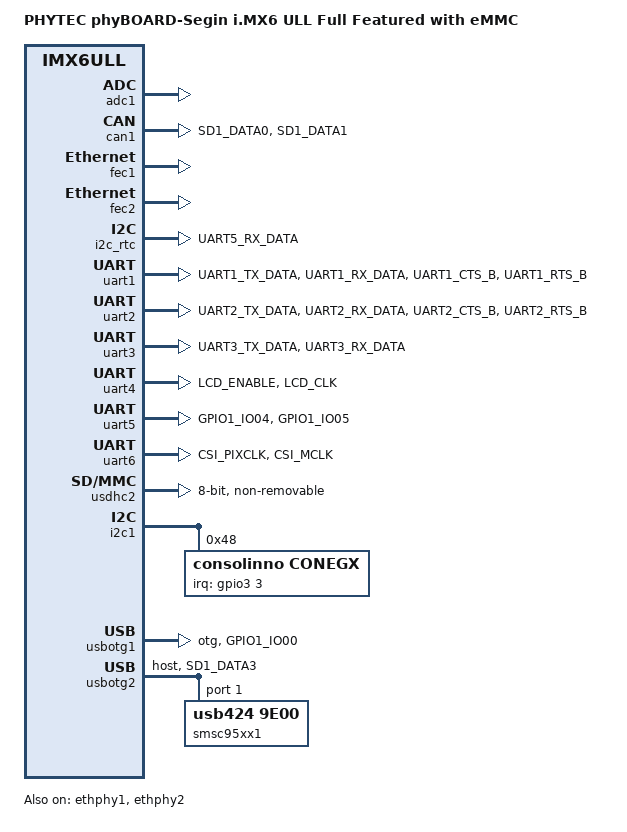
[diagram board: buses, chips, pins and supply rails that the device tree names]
// SPDX-License-Identifier: (GPL-2.0+ OR MIT)
/*
 * Copyright (C) 2019 PHYTEC Messtechnik GmbH
 * Author: Stefan Riedmueller <s.riedmueller@phytec.de>
 * Author: Simon Stuerz <simon.stuerz@nymea.io>
 * Author: Paul Budich <p.budich@consolinno.de>
 * Author: Alexander Pietsch <a.pietsch@consolinno.de>
 * Author: Leonid Verhovskij <l.verhovskij@consolinno.de>
 */

/dts-v1/;
#include "imx6ull.dtsi"
#include "imx6ull-phytec-phycore-som.dtsi"
#include "imx6ull-phytec-segin.dtsi"
#include "imx6ull-phytec-segin-peb-av-02.dtsi"
#include "imx6ull-phytec-segin-peb-eval-01.dtsi"

/ {
	model = "PHYTEC phyBOARD-Segin i.MX6 ULL Full Featured with eMMC";
	compatible = "phytec,imx6ull-pbacd10-emmc", "phytec,imx6ull-pbacd10",
		     "phytec,imx6ull-pcl063","fsl,imx6ull";

	aliases {
		mmc0 = &usdhc1; /* uSD / MMC  */
		mmc1 = &usdhc2; /* internal eMMC */
		ethernet2 ="/soc/bus@2100000/usb@2184200/ethernet@1/";
	};
};

&adc1 {
	status = "okay";
};

&can1 {
	status = "okay";
};

&ecspi1 {
	pinctrl-names = "default";
	pinctrl-0 = <&pinctrl_ecspi1>;
	cs-gpios = <0>;
	status = "enabled";
	tpm@0 {
		compatible = "infineon,slb9670";
		spi-max-frequency = <10000000>;
		reg = <0>; //cs0
		status = "okay";
	};
};

&ethphy1 {
	status = "okay";
};

&ethphy2 {
	interrupt-parent = <&gpio4>;
	interrupts = <16 IRQ_TYPE_LEVEL_LOW>;
	status = "okay";
};

&fec1 {
	status = "okay";
};

&fec2 {
	status = "okay";
};

&snvs_rtc {
	status = "disabled";
};

&i2c_rtc {

	pinctrl-0 = <&pinctrl_rtc_1>;
	interrupt-parent = <&gpio1>;
	interrupts = <31 IRQ_TYPE_LEVEL_LOW>;
	status = "okay";
	
};


&reg_can1_en {
	status = "okay";
};


/* DEBUG Port */
&uart1 {
	pinctrl-names = "default";
	pinctrl-0 = <&pinctrl_uart1>;
	uart-has-rtscts;
	status = "okay";
};

/* Zigbee/Bluetooth */
&uart2 {
	pinctrl-names = "default";
	pinctrl-0 = <&pinctrl_uart2>;
	uart-has-rtscts;
	status = "okay";
};

/* RS232 on 16pin output header */
&uart3 {
	pinctrl-names = "default";
	pinctrl-0 = <&pinctrl_uart3>;
	status = "okay";
};

/* RS485-2 on RJ45 */
&uart4 {
	pinctrl-names = "default";
	pinctrl-0 = <&pinctrl_uart4>;
	status = "okay";
};

/* wMbus */
&uart5 {
	pinctrl-names = "default";
	pinctrl-0 = <&pinctrl_uart5>;
	status = "okay";
};

/* wMbRS485-1 on 16pin output header */
&uart6 {
	pinctrl-names = "default";
	pinctrl-0 = <&pinctrl_uart6>;
	status = "okay";
};




&usdhc2 {
	pinctrl-names = "default";
	pinctrl-0 = <&pinctrl_usdhc2>;
	bus-width = <8>;
	no-1-8-v;
	non-removable;
	keep-power-in-suspend;
	status = "okay";
};

&i2c1 {

	eepromnfc@53 {
		compatible = "st25dv,st25dv04k";
		reg = <0x53>;
		status = "disabled";
	};

	conegx@48 {
		pinctrl-0 = <&pinctrl_msp>;
		compatible = "consolinno,conegx";
		reg = <0x48>; /* I2C Adress */
		gpio-controller;
		#gpio-cells = <2>;

		/*
		pinctrl-names = "default";
		pinctrl-0 = <&conegx_pins>;
		*/
		
		interrupt-controller;
		#interrupt-cells = <2>;
		
		interrupt-parent = <&gpio3>;
		interrupts = <3 0x1>; // Pin Type(1=Rising)
		
	};



};


&can1 {                                                                           
        pinctrl-names = "default";                                                
        pinctrl-0 = <&pinctrl_flexcan1>;                                          
		status = "okay";                                                      
};

&usbotg1 {                                                                       
        pinctrl-names = "default";                                               
        pinctrl-0 = <&pinctrl_usb_otg1_id>;                                      
        dr_mode = "otg";                                                         
        status = "okay";                                                     
};  

&usbotg2 {                  
		pinctrl-names = "default";                                               
        pinctrl-0 = <&pinctrl_usb_otg2_id>;                                                  
        dr_mode = "host";                                                        
        disable-over-current;                                                    
        status = "okay";        

		#address-cells = <1>;
		#size-cells = <0>;
		smsc95xx1: ethernet@1 {
			compatible = "usb424,9e00";
			reg = <1>;
			local-mac-address = [00 00 00 00 00 00];
		};                                            
};

&iomuxc {
	pinctrl-names = "default";
	pinctrl-0 = <&pinctrl_hog>;
 
 
	pinctrl_hog: hoggrp {
		fsl,pins = <
			MX6UL_PAD_CSI_VSYNC__GPIO4_IO19		0x10b0
			MX6UL_PAD_CSI_HSYNC__GPIO4_IO20		0x10b0 
			MX6UL_PAD_SD1_CLK__GPIO2_IO17		0x10b0
			MX6UL_PAD_SD1_CMD__GPIO2_IO16		0x10b0
			MX6UL_PAD_SD1_DATA2__GPIO2_IO20		0x10b0
			MX6UL_PAD_LCD_VSYNC__GPIO3_IO03		0x10b0
			MX6UL_PAD_LCD_RESET__GPIO3_IO04		0x10b0
			MX6UL_PAD_LCD_HSYNC__GPIO3_IO02		0x10b0
			MX6UL_PAD_UART5_TX_DATA__GPIO1_IO30		0x10b0
		>;
	};

	pinctrl_msp: mspgrp {
		fsl,pins = <
			MX6UL_PAD_LCD_VSYNC__GPIO3_IO03	0x110a0
		>;
	};
	
	pinctrl_uart1: uart1grp {
		fsl,pins = <
			MX6UL_PAD_UART1_TX_DATA__UART1_DCE_TX	0x1b0b1
			MX6UL_PAD_UART1_RX_DATA__UART1_DCE_RX	0x1b0b1
			MX6ULL_PAD_UART1_CTS_B__UART5_DCE_CTS	0x1b0b1
			MX6ULL_PAD_UART1_RTS_B__UART5_DCE_RTS	0x1b0b1
		>;
	};

	pinctrl_uart2: uart2grp {
		fsl,pins = <
			MX6UL_PAD_UART2_TX_DATA__UART2_DCE_TX	0x1b0b1
			MX6UL_PAD_UART2_RX_DATA__UART2_DCE_RX	0x1b0b1
			MX6UL_PAD_UART2_CTS_B__UART2_DCE_CTS	0x1b0b1
			MX6UL_PAD_UART2_RTS_B__UART2_DCE_RTS	0x1b0b1
		>;
	};

	pinctrl_uart3: uart3grp {
		fsl,pins = <
			MX6UL_PAD_UART3_TX_DATA__UART3_DCE_TX	0x1b0b1
			MX6UL_PAD_UART3_RX_DATA__UART3_DCE_RX	0x1b0b1
		>;
	};

	pinctrl_uart4: uart4grp {
		fsl,pins = <
			MX6UL_PAD_LCD_ENABLE__UART4_DCE_RX		0x1b0b1
			MX6UL_PAD_LCD_CLK__UART4_DCE_TX			0x1b0b1
		>;
	};

	pinctrl_uart5: uart5grp {
		fsl,pins = <
			MX6UL_PAD_GPIO1_IO04__UART5_DCE_TX		0x1b0b1
			MX6UL_PAD_GPIO1_IO05__UART5_DCE_RX		0x1b0b1
		>;
	};

	pinctrl_uart6: uart6grp {
		fsl,pins = <
			MX6UL_PAD_CSI_PIXCLK__UART6_DCE_RX		0x1b0b1
			MX6UL_PAD_CSI_MCLK__UART6_DCE_TX		0x1b0b1
		>;
	};

	pinctrl_ecspi1: ecspi1-grp {
		fsl,pins = <
			MX6UL_PAD_CSI_DATA07__ECSPI1_MISO	0x100b1
			MX6UL_PAD_CSI_DATA06__ECSPI1_MOSI	0x100b1
			MX6UL_PAD_CSI_DATA04__ECSPI1_SCLK	0x100b1
			MX6UL_PAD_CSI_DATA05__ECSPI1_SS0	0x1b0b0 	/* SS0 */
		>;
	};

	pinctrl_flexcan1: flexcan1 {                                             
		fsl,pins = <                                                     
			MX6UL_PAD_SD1_DATA0__FLEXCAN1_TX     0x0b0b0          
			MX6UL_PAD_SD1_DATA1__FLEXCAN1_RX     0x0b0b0          
		>;                                                               
        }; 
 
	pinctrl_usb_otg1_id: usbotg1idgrp {                                      
			fsl,pins = <                                                     
					MX6UL_PAD_GPIO1_IO00__ANATOP_OTG1_ID    0x17059          
			>;                                                               
	};
	pinctrl_usb_otg2_id: usbotg2idgrp {
		fsl,pins = <
			MX6UL_PAD_SD1_DATA3__ANATOP_OTG2_ID	0x17059
		>;
	};

	pinctrl_enet2: enet2grp {
		fsl,pins = <
			MX6UL_PAD_ENET2_RX_EN__ENET2_RX_EN	0x1b0b0
			MX6UL_PAD_ENET2_RX_ER__ENET2_RX_ER	0x1b0b0
			MX6UL_PAD_ENET2_RX_DATA0__ENET2_RDATA00	0x1b0b0
			MX6UL_PAD_ENET2_RX_DATA1__ENET2_RDATA01	0x1b0b0
			MX6UL_PAD_ENET2_TX_EN__ENET2_TX_EN	0x1b010
			MX6UL_PAD_ENET2_TX_DATA0__ENET2_TDATA00	0x1b010
			MX6UL_PAD_ENET2_TX_DATA1__ENET2_TDATA01	0x1b010
			MX6UL_PAD_ENET2_TX_CLK__ENET2_REF_CLK2	0x4001b010
			/* INT# */
			MX6UL_PAD_NAND_DQS__GPIO4_IO16		0x1b0b0
		>;
	};

	pinctrl_rtc_1: rtc1intgrp {
		fsl,pins = <
			MX6UL_PAD_UART5_RX_DATA__GPIO1_IO31 0x000010B0
		>;
	};
};
